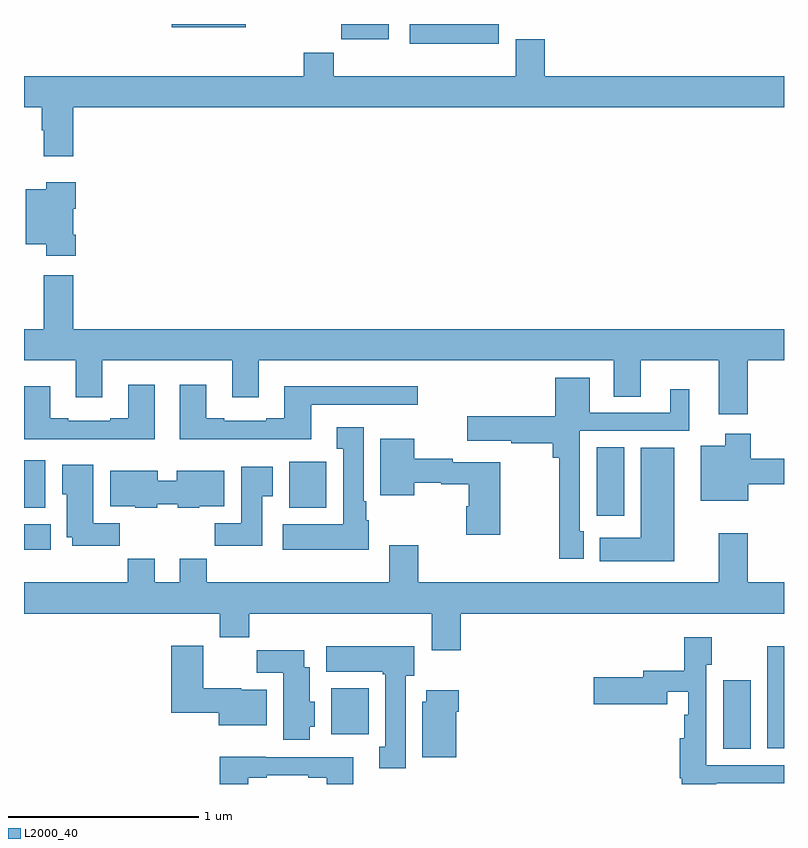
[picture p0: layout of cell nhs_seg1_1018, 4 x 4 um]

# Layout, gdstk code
import gdstk
lib = gdstk.Library(unit=1e-6, precision=1e-09)
def R(c, l, rs):  # rectangles x0, y0, x1, y1
    for r in rs: c.add(gdstk.rectangle(r[:2], r[2:], *l))
def P(c, l, *ps):  # polygons
    for p in ps: c.add(gdstk.Polygon(p, *l))
L2000_40 = (2000, 40)

nhs_seg1_1018 = lib.new_cell('nhs_seg1_1018')
R(nhs_seg1_1018, L2000_40, [(170.681,520.384,170.824,520.746), (170.912,520.388,171,520.924), (168.617,520.46,168.814,520.702), (167,521.432,167.14,521.566), (170.015,521.61,170.158,521.972), (167,521.654,167.113,521.904), (168.395,521.654,168.592,521.896), (169.029,524.096,169.498,524.199), (168.67,524.118,168.919,524.199), (167.778,524.183,168.166,524.199)])
P(nhs_seg1_1018, L2000_40, [(167.258,523.76),(171,523.76),(171,523.924),(169.742,523.924),(169.742,524.119),(169.589,524.119),(169.589,523.924),(168.629,523.924),(168.629,524.048),(168.473,524.048),(168.473,523.924),(167,523.924),(167,523.76),(167.093,523.76),(167.093,523.64),(167.105,523.64),(167.105,523.503),(167.258,523.503)],
  [(167.273,523.09),(167.26,523.09),(167.26,523.226),(167.273,523.226),(167.273,523.366),(167.117,523.366),(167.117,523.33),(167.009,523.33),(167.009,523.04),(167.117,523.04),(167.117,522.978),(167.273,522.978)],
  [(167.258,522.877),(167.105,522.877),(167.105,522.592),(167,522.592),(167,522.428),(167.273,522.428),(167.273,522.234),(167.413,522.234),(167.413,522.428),(168.095,522.428),(168.095,522.234),(168.235,522.234),(168.235,522.428),(170.105,522.428),(170.105,522.238),(170.245,522.238),(170.245,522.428),(170.657,522.428),(170.657,522.144),(170.81,522.144),(170.81,522.428),(171,522.428),(171,522.592),(167.258,522.592)],
  [(169.945,521.529),(169.926,521.529),(169.926,522.057),(170.5,522.057),(170.5,522.277),(170.402,522.277),(170.402,522.153),(169.978,522.153),(169.978,522.337),(169.796,522.337),(169.796,522.135),(169.332,522.135),(169.332,522.005),(169.564,522.005),(169.564,521.993),(169.784,521.993),(169.784,521.915),(169.818,521.915),(169.818,521.385),(169.945,521.385)],
  [(168.511,522.195),(169.072,522.195),(169.072,522.292),(168.371,522.292),(168.371,522.124),(168.275,522.124),(168.275,522.111),(168.055,522.111),(168.055,522.124),(167.959,522.124),(167.959,522.301),(167.819,522.301),(167.819,522.014),(168.511,522.014)],
  [(167.689,522.301),(167.549,522.301),(167.549,522.124),(167.453,522.124),(167.453,522.111),(167.233,522.111),(167.233,522.124),(167.137,522.124),(167.137,522.292),(167,522.292),(167,522.014),(167.689,522.014)],
  [(168.814,521.586),(168.802,521.586),(168.802,521.686),(168.787,521.686),(168.787,522.076),(168.647,522.076),(168.647,521.963),(168.68,521.963),(168.68,521.566),(168.363,521.566),(168.363,521.432),(168.814,521.432)],
  [(170.812,521.776),(171,521.776),(171,521.912),(170.825,521.912),(170.825,522.043),(170.69,522.043),(170.69,521.98),(170.561,521.98),(170.561,521.69),(170.812,521.69)],
  [(169.506,521.892),(169.257,521.892),(169.257,521.912),(169.054,521.912),(169.054,522.016),(168.875,522.016),(168.875,521.72),(169.054,521.72),(169.054,521.784),(169.197,521.784),(169.197,521.776),(169.34,521.776),(169.34,521.661),(169.328,521.661),(169.328,521.511),(169.506,521.511)],
  [(170.422,521.968),(170.246,521.968),(170.246,521.494),(170.03,521.494),(170.03,521.372),(170.422,521.372)],
  [(167.504,521.572),(167.365,521.572),(167.365,521.878),(167.201,521.878),(167.201,521.724),(167.225,521.724),(167.225,521.498),(167.255,521.498),(167.255,521.454),(167.504,521.454)],
  [(168.253,521.713),(168.31,521.713),(168.31,521.869),(168.143,521.869),(168.143,521.572),(168.004,521.572),(168.004,521.454),(168.253,521.454)],
  [(167.7,521.672),(167.808,521.672),(167.808,521.654),(167.922,521.654),(167.922,521.66),(168.055,521.66),(168.055,521.848),(167.804,521.848),(167.804,521.794),(167.704,521.794),(167.704,521.848),(167.453,521.848),(167.453,521.66),(167.586,521.66),(167.586,521.654),(167.7,521.654)],
  [(169.298,521.096),(171,521.096),(171,521.26),(170.81,521.26),(170.81,521.518),(170.657,521.518),(170.657,521.26),(169.076,521.26),(169.076,521.455),(168.923,521.455),(168.923,521.26),(167.963,521.26),(167.963,521.384),(167.819,521.384),(167.819,521.26),(167.689,521.26),(167.689,521.384),(167.545,521.384),(167.545,521.26),(167,521.26),(167,521.096),(168.029,521.096),(168.029,520.972),(168.185,520.972),(168.185,521.096),(169.145,521.096),(169.145,520.902),(169.298,520.902)],
  [(170.644,520.203),(171,520.203),(171,520.299),(170.592,520.299),(170.592,520.827),(170.619,520.827),(170.619,520.972),(170.476,520.972),(170.476,520.795),(170.258,520.795),(170.258,520.761),(169.998,520.761),(169.998,520.619),(170.386,520.619),(170.386,520.684),(170.496,520.684),(170.496,520.563),(170.476,520.563),(170.476,520.441),(170.45,520.441),(170.45,520.23),(170.462,520.23),(170.462,520.199),(170.644,520.199)],
  [(168.277,520.696),(168.144,520.696),(168.144,520.702),(167.944,520.702),(167.944,520.927),(167.774,520.927),(167.774,520.574),(168.026,520.574),(168.026,520.508),(168.277,520.508)],
  [(169.009,520.77),(169.054,520.77),(169.054,520.924),(168.59,520.924),(168.59,520.79),(168.889,520.79),(168.889,520.777),(168.902,520.777),(168.902,520.394),(168.869,520.394),(168.869,520.281),(169.009,520.281)],
  [(168.505,520.5),(168.529,520.5),(168.529,520.632),(168.505,520.632),(168.505,520.813),(168.475,520.813),(168.475,520.903),(168.226,520.903),(168.226,520.784),(168.365,520.784),(168.365,520.433),(168.505,520.433)],
  [(169.276,520.58),(169.289,520.58),(169.289,520.693),(169.118,520.693),(169.118,520.632),(169.097,520.632),(169.097,520.34),(169.276,520.34)],
  [(168.181,520.233),(168.277,520.233),(168.277,520.245),(168.497,520.245),(168.497,520.233),(168.593,520.233),(168.593,520.199),(168.733,520.199),(168.733,520.341),(168.273,520.341),(168.273,520.342),(168.029,520.342),(168.029,520.199),(168.181,520.199)])

lib.write_gds('nhs_seg1_1018.gds')
